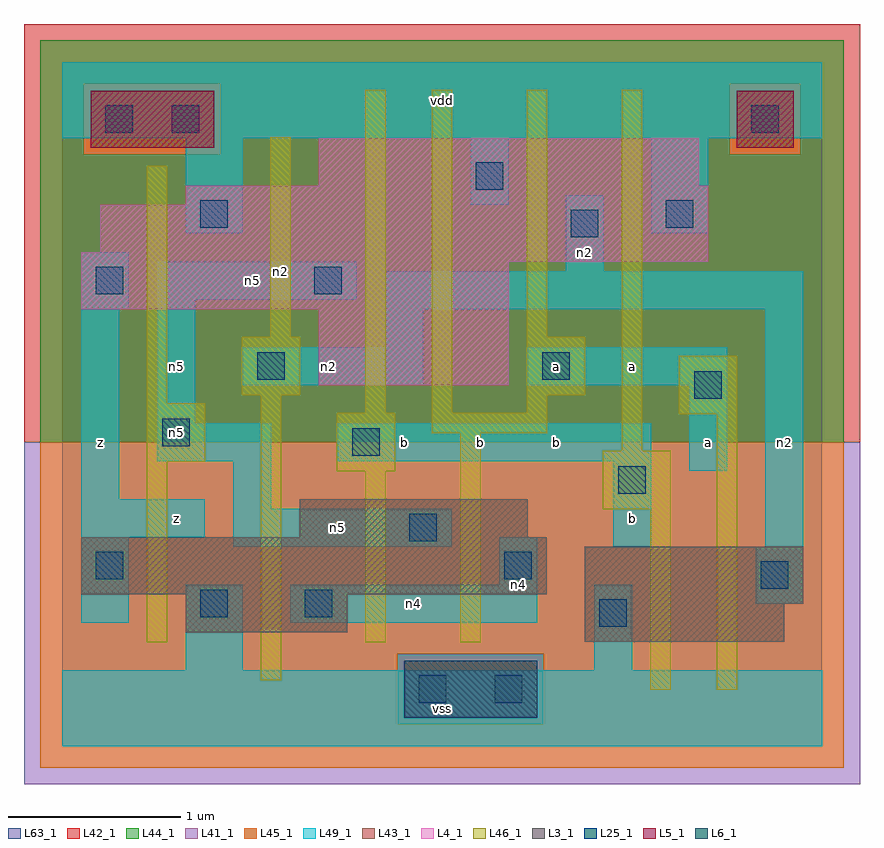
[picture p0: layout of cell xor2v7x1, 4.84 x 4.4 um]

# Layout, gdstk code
import gdstk
lib = gdstk.Library(unit=1e-6, precision=1e-09)
def R(c, l, rs):  # rectangles x0, y0, x1, y1
    for r in rs: c.add(gdstk.rectangle(r[:2], r[2:], *l))
L3_1 = (3, 1)
L4_1 = (4, 1)
L5_1 = (5, 1)
L6_1 = (6, 1)
L25_1 = (25, 1)
L41_1 = (41, 1)
L42_1 = (42, 1)
L43_1 = (43, 1)
L44_1 = (44, 1)
L45_1 = (45, 1)
L46_1 = (46, 1)
L49_1 = (49, 1)
L63_1 = (63, 1)

xor2v7x1 = lib.new_cell('xor2v7x1')
R(xor2v7x1, L3_1, [(3.025,0.605,4.18,0.825), (0.715,0.66,1.65,0.88), (3.025,0.825,4.29,1.155), (0.11,0.88,2.805,1.21), (1.375,1.21,2.695,1.43)])
R(xor2v7x1, L4_1, [(1.485,2.09,2.585,2.53), (0.11,2.53,2.585,2.805), (0.11,2.805,3.74,2.86), (0.22,2.86,3.74,3.135), (0.715,3.135,3.74,3.245), (1.485,3.245,3.685,3.52)])
R(xor2v7x1, L5_1, [(0.165,3.465,0.88,3.795), (3.905,3.465,4.235,3.795)])
R(xor2v7x1, L6_1, [(1.98,0.165,2.75,0.495)])
R(xor2v7x1, L25_1, [(2.065,0.25,2.225,0.41), (2.505,0.25,2.665,0.41), (3.11,0.69,3.27,0.85), (0.8,0.745,0.96,0.905), (1.405,0.745,1.565,0.905), (4.045,0.91,4.205,1.07), (0.195,0.965,0.355,1.125), (2.56,0.965,2.72,1.125), (2.01,1.185,2.17,1.345), (3.22,1.46,3.38,1.62), (1.68,1.68,1.84,1.84), (0.58,1.735,0.74,1.895), (3.66,2.01,3.82,2.17), (1.13,2.12,1.29,2.28), (2.78,2.12,2.94,2.28), (0.195,2.615,0.355,2.775), (1.46,2.615,1.62,2.775), (2.945,2.945,3.105,3.105), (0.8,3,0.96,3.16), (3.495,3,3.655,3.16), (2.395,3.22,2.555,3.38), (0.25,3.55,0.41,3.71), (0.635,3.55,0.795,3.71), (3.99,3.55,4.15,3.71)])
R(xor2v7x1, L41_1, [(-0.22,-0.22,4.62,1.76)])
R(xor2v7x1, L42_1, [(-0.22,1.76,4.62,4.18)])
R(xor2v7x1, L43_1, [(1.98,0.165,2.75,0.495), (3.025,0.605,4.18,0.825), (0.715,0.66,1.65,0.88), (3.025,0.825,4.29,1.155), (0.11,0.88,2.805,1.21), (1.375,1.21,2.695,1.43), (1.485,2.09,2.585,2.53), (0.11,2.53,2.585,2.805), (0.11,2.805,3.74,2.86), (0.22,2.86,3.74,3.135), (0.715,3.135,3.74,3.245), (1.485,3.245,3.685,3.52), (0.165,3.465,0.88,3.795), (3.905,3.465,4.235,3.795)])
R(xor2v7x1, L44_1, [(1.94,0.125,2.79,0.535), (-0.125,1.76,4.525,3.425), (-0.125,3.425,0.125,3.835), (0.92,3.425,3.865,3.835), (4.275,3.425,4.525,3.835), (-0.125,3.835,4.525,4.085)])
R(xor2v7x1, L45_1, [(-0.125,-0.125,4.525,0.125), (-0.125,0.125,1.94,0.535), (2.79,0.125,4.525,0.535), (-0.125,0.535,4.525,1.76), (0.125,3.425,0.92,3.835), (3.865,3.425,4.275,3.835)])
R(xor2v7x1, L46_1, [(3.405,0.325,3.525,1.37), (3.79,0.325,3.91,1.92), (1.15,0.38,1.27,2.03), (0.49,0.6,0.61,1.645), (1.755,0.6,1.875,1.59), (2.305,0.6,2.425,1.81), (3.13,1.37,3.525,1.71), (1.59,1.59,1.93,1.93), (0.49,1.645,0.83,1.985), (3.24,1.71,3.36,3.8), (2.14,1.81,2.81,1.93), (3.57,1.92,3.91,2.26), (1.755,1.93,1.875,3.8), (2.14,1.93,2.26,3.8), (2.69,1.93,2.81,2.03), (0.49,1.985,0.61,3.36), (1.04,2.03,1.38,2.37), (2.69,2.03,3.03,2.37), (1.205,2.37,1.325,3.525), (2.69,2.37,2.81,3.8)])
R(xor2v7x1, L49_1, [(0,0,4.4,0.44), (0.715,0.44,1.045,0.935), (3.08,0.44,3.3,0.935), (0.11,0.715,0.385,1.21), (1.32,0.715,2.75,0.935), (4.015,0.825,4.29,1.155), (2.53,0.935,2.75,1.21), (0.99,1.155,2.255,1.375), (3.19,1.155,3.41,1.65), (4.07,1.155,4.29,2.53), (0.11,1.21,0.825,1.43), (0.99,1.375,1.21,1.65), (0.11,1.43,0.33,2.53), (3.63,1.595,3.85,2.09), (0.55,1.65,1.21,1.87), (1.595,1.65,3.41,1.87), (0.55,1.87,0.77,2.585), (1.045,2.09,2.09,2.31), (2.695,2.09,3.85,2.31), (1.87,2.31,2.09,2.53), (0.11,2.53,0.385,2.86), (1.87,2.53,4.29,2.75), (0.55,2.585,1.705,2.805), (2.915,2.75,3.135,3.19), (0.715,2.97,1.045,3.52), (3.41,2.97,3.74,3.52), (2.365,3.135,2.585,3.52), (0,3.52,4.4,3.96)])
R(xor2v7x1, L63_1, [(0,0,4.4,3.96)])
xor2v7x1.add(gdstk.Label('n5', (0.66,1.815), layer=49, texttype=1))
xor2v7x1.add(gdstk.Label('n2', (1.265,2.75), layer=46, texttype=1))
xor2v7x1.add(gdstk.Label('z', (0.22,1.76), layer=49, texttype=1))
xor2v7x1.add(gdstk.Label('z', (0.66,1.32), layer=49, texttype=1))
xor2v7x1.add(gdstk.Label('n5', (0.66,2.2), layer=49, texttype=1))
xor2v7x1.add(gdstk.Label('b', (1.98,1.76), layer=49, texttype=1))
xor2v7x1.add(gdstk.Label('n2', (1.54,2.2), layer=49, texttype=1))
xor2v7x1.add(gdstk.Label('n5', (1.1,2.695), layer=49, texttype=1))
xor2v7x1.add(gdstk.Label('vss', (2.2,0.22), layer=49, texttype=1))
xor2v7x1.add(gdstk.Label('n4', (2.035,0.825), layer=49, texttype=1))
xor2v7x1.add(gdstk.Label('n4', (2.64,0.935), layer=49, texttype=1))
xor2v7x1.add(gdstk.Label('b', (2.42,1.76), layer=49, texttype=1))
xor2v7x1.add(gdstk.Label('n5', (1.595,1.265), layer=49, texttype=1))
xor2v7x1.add(gdstk.Label('b', (2.86,1.76), layer=49, texttype=1))
xor2v7x1.add(gdstk.Label('a', (2.86,2.2), layer=49, texttype=1))
xor2v7x1.add(gdstk.Label('n2', (3.025,2.86), layer=49, texttype=1))
xor2v7x1.add(gdstk.Label('vdd', (2.2,3.74), layer=49, texttype=1))
xor2v7x1.add(gdstk.Label('b', (3.3,1.32), layer=49, texttype=1))
xor2v7x1.add(gdstk.Label('a', (3.74,1.76), layer=49, texttype=1))
xor2v7x1.add(gdstk.Label('a', (3.3,2.2), layer=49, texttype=1))
xor2v7x1.add(gdstk.Label('n2', (4.18,1.76), layer=49, texttype=1))

lib.write_gds('xor2v7x1.gds')
